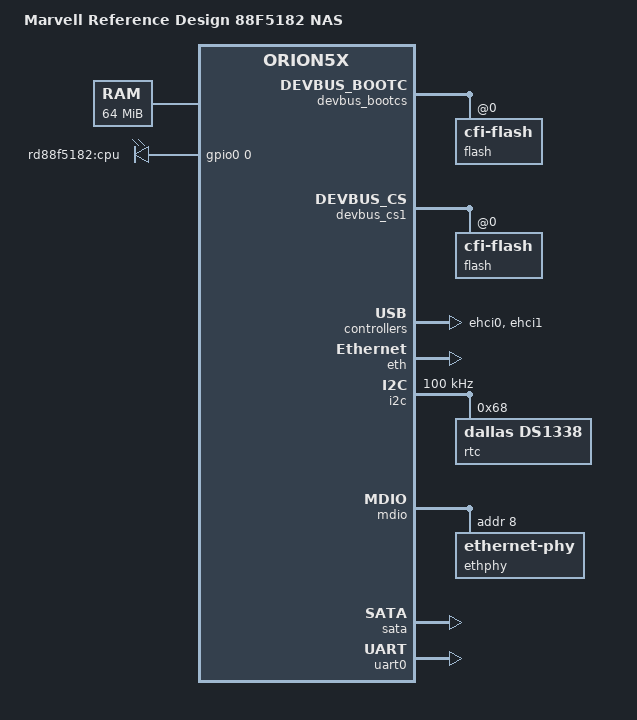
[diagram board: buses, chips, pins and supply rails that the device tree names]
// SPDX-License-Identifier: GPL-2.0-only
// Copyright (C) 2014 Thomas Petazzoni <thomas.petazzoni@free-electrons.com>

/dts-v1/;

#include <dt-bindings/gpio/gpio.h>
#include "orion5x-mv88f5182.dtsi"

/ {
	model = "Marvell Reference Design 88F5182 NAS";
	compatible = "marvell,rd-88f5182-nas", "marvell,orion5x-88f5182", "marvell,orion5x";

	memory {
		device_type = "memory";
		reg = <0x00000000 0x4000000>; /* 64 MB */
	};

	chosen {
		bootargs = "console=ttyS0,115200n8 earlyprintk";
		stdout-path = &uart0;
	};

	soc {
		ranges = <MBUS_ID(0xf0, 0x01) 0 0xf1000000 0x100000>,
		         <MBUS_ID(0x09, 0x00) 0 0xf2200000 0x800>,
			 <MBUS_ID(0x01, 0x0f) 0 0xf4000000 0x80000>,
			 <MBUS_ID(0x01, 0x1d) 0 0xfc000000 0x1000000>;
	};

	gpio-leds {
		compatible = "gpio-leds";
		pinctrl-0 = <&pmx_debug_led>;
		pinctrl-names = "default";

		led-0 {
			label = "rd88f5182:cpu";
			linux,default-trigger = "heartbeat";
			gpios = <&gpio0 0 GPIO_ACTIVE_HIGH>;
		};
	};
};

&devbus_bootcs {
	status = "okay";

	/* Read parameters */
	devbus,bus-width    = <8>;
	devbus,turn-off-ps  = <90000>;
	devbus,badr-skew-ps = <0>;
	devbus,acc-first-ps = <186000>;
	devbus,acc-next-ps  = <186000>;

	/* Write parameters */
	devbus,wr-high-ps  = <90000>;
	devbus,wr-low-ps   = <90000>;
	devbus,ale-wr-ps   = <90000>;

	flash@0 {
		compatible = "cfi-flash";
		reg = <0 0x80000>;
		bank-width = <1>;
	};
};

&devbus_cs1 {
	status = "okay";

	/* Read parameters */
	devbus,bus-width    = <8>;
	devbus,turn-off-ps  = <90000>;
	devbus,badr-skew-ps = <0>;
	devbus,acc-first-ps = <186000>;
	devbus,acc-next-ps  = <186000>;

	/* Write parameters */
	devbus,wr-high-ps  = <90000>;
	devbus,wr-low-ps   = <90000>;
	devbus,ale-wr-ps   = <90000>;

	flash@0 {
		compatible = "cfi-flash";
		reg = <0 0x1000000>;
		bank-width = <1>;
	};
};

&ehci0 {
	status = "okay";
};

&ehci1 {
	status = "okay";
};

&eth {
	status = "okay";

	ethernet-port@0 {
		phy-handle = <&ethphy>;
	};
};

&i2c {
	status = "okay";
	clock-frequency = <100000>;
	#address-cells = <1>;

	rtc@68 {
		pinctrl-0 = <&pmx_rtc>;
		pinctrl-names = "default";
		compatible = "dallas,ds1338";
		reg = <0x68>;
	};
};

&mdio {
	status = "okay";

	ethphy: ethernet-phy {
		reg = <8>;
	};
};

&pinctrl {
	pinctrl-0 = <&pmx_reset_switch &pmx_misc_gpios
		&pmx_pci_gpios>;
	pinctrl-names = "default";

	/*
	 * MPP[20] PCI Clock to MV88F5182
	 * MPP[21] PCI Clock to mini PCI CON11
	 * MPP[22] USB 0 over current indication
	 * MPP[23] USB 1 over current indication
	 * MPP[24] USB 1 over current enable
	 * MPP[25] USB 0 over current enable
	 */

	pmx_debug_led: pmx-debug_led {
		marvell,pins = "mpp0";
		marvell,function = "gpio";
	};

	pmx_reset_switch: pmx-reset-switch {
		marvell,pins = "mpp1";
		marvell,function = "gpio";
	};

	pmx_rtc: pmx-rtc {
		marvell,pins = "mpp3";
		marvell,function = "gpio";
	};

	pmx_misc_gpios: pmx-misc-gpios {
		marvell,pins = "mpp4", "mpp5";
		marvell,function = "gpio";
	};

	pmx_pci_gpios: pmx-pci-gpios {
		marvell,pins = "mpp6", "mpp7";
		marvell,function = "gpio";
	};
};

&sata {
	pinctrl-0 = <&pmx_sata0 &pmx_sata1>;
	pinctrl-names = "default";
	status = "okay";
	nr-ports = <2>;
};

&uart0 {
	status = "okay";
};
